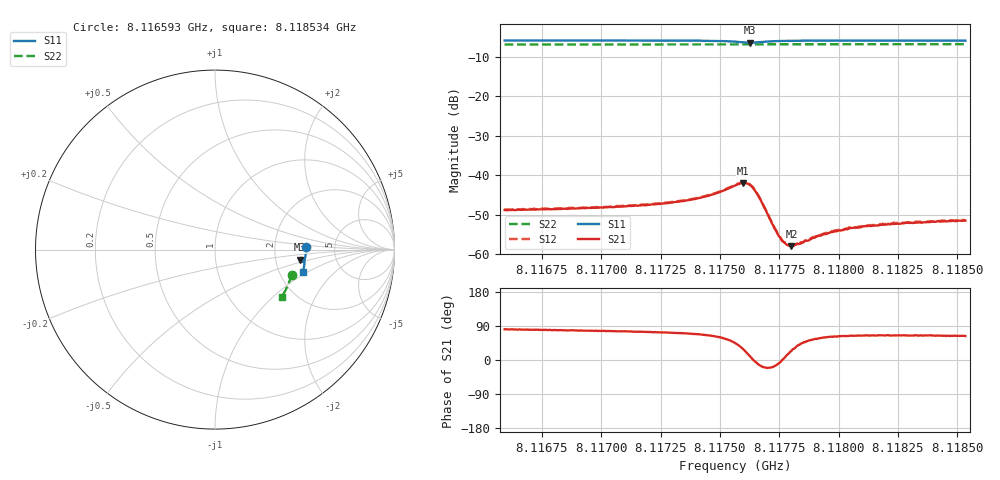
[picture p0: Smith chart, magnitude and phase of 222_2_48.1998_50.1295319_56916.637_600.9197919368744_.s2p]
#  HZ  S  RI  R  50.00
! Rohde & Schwarz Vector Network Analyzer
! Rohde-Schwarz,ZNB20-2Port,1311601062101988,3.16
! Created: UTC 3/20/2024, 11:45:59 AM
! freq[Hz]  re:S11  im:S11  re:S21  im:S21  re:S12  im:S12  re:S22  im:S22
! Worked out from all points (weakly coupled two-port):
!   401 points, 8.116593 GHz to 8.118534 GHz, reference 50 ohm
!   highest |S21| = -41.94 dB at 8.117598 GHz (marker M1); lowest = -57.9 dB at 8.117802 GHz (marker M2)
!   lowest |S11| = -6.5 dB at 8.117627 GHz (marker M3), VSWR 2.81, Z = 137 - j20 ohm
!   |S11| at or under -10 dB: nowhere
!   |S22| runs from -6.9 to -6.8 dB; largest |S21 - S12| = 0.0002
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8.1165933e9  0.5066 0.0142  0.000557 0.00359  0.000638 0.00363  0.4269 -0.1421
8.1169184e9  0.5061 -0.0109  0.000804 0.00376  0.00087 0.0038  0.4202 -0.1637
8.1172436e9  0.5038 -0.0372  0.00126 0.00415  0.00136 0.00423  0.4121 -0.1849
8.1173455e9  0.5023 -0.0464  0.0016 0.00446  0.00166 0.00453  0.4095 -0.1916
8.1174231e9  0.4998 -0.054  0.00203 0.00482  0.00216 0.0049  0.4071 -0.1966
8.1174862e9  0.4963 -0.0612  0.00283 0.00523  0.00292 0.0053  0.4052 -0.2007
8.1175638e9  0.4846 -0.0686  0.00526 0.00524  0.00537 0.00526  0.4024 -0.2057
8.1175978e9  0.4755 -0.066  0.007 0.00386  0.00713 0.00385  0.4011 -0.2075
8.1176269e9  0.4714 -0.0565  0.00742 0.00129  0.00759 0.0012  0.4004 -0.2087
8.1176414e9  0.4732 -0.0513  0.00681 -3.19e-05  0.00697 -5.05e-05  0.4001 -0.2093
8.1176609e9  0.4784 -0.047  0.00545 -0.00103  0.00556 -0.00114  0.3997 -0.2104
8.1177288e9  0.4936 -0.0515  0.00206 -0.000605  0.00215 -0.000659  0.3985 -0.2148
8.1177531e9  0.496 -0.055  0.00164 -0.000192  0.00165 -0.000186  0.3977 -0.2165
8.1177773e9  0.4973 -0.0585  0.00135 0.000218  0.00137 0.000192  0.397 -0.2181
8.1177919e9  0.4977 -0.0603  0.00122 0.000405  0.00124 0.000403  0.3965 -0.2191
8.1178016e9  0.4981 -0.0616  0.00116 0.000516  0.00117 0.000522  0.3963 -0.2195
8.1178452e9  0.4988 -0.0667  0.00101 0.000975  0.00106 0.000956  0.3948 -0.2226
8.1178889e9  0.4989 -0.0713  0.000964 0.0013  0.000969 0.00132  0.3936 -0.2252
8.1179763e9  0.4983 -0.0794  0.000925 0.00168  0.000967 0.00171  0.3907 -0.2307
8.1180539e9  0.4973 -0.0861  0.000931 0.00195  0.000969 0.00195  0.3883 -0.2357
8.118214e9  0.4952 -0.0989  0.00102 0.00217  0.00104 0.00223  0.3825 -0.2454
8.1185343e9  0.4896 -0.1233  0.00121 0.00239  0.00123 0.00243  0.3707 -0.2644
